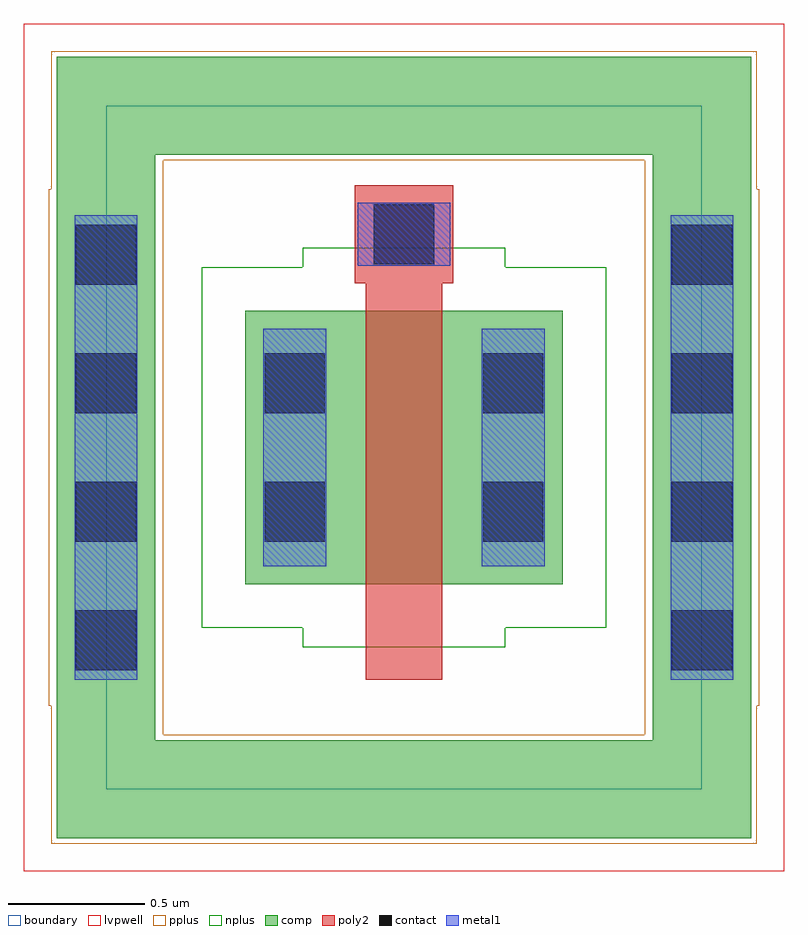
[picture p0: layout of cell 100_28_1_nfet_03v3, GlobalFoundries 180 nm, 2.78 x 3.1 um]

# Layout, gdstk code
import gdstk
lib = gdstk.Library(unit=1e-6, precision=1e-09)
def R(c, l, rs):  # rectangles x0, y0, x1, y1
    for r in rs: c.add(gdstk.rectangle(r[:2], r[2:], *l))
def A(c, l, x, y, w, h, nx, ny, dx, dy):  # array of equal rectangles
    R(c, l, [(x+i*dx, y+j*dy, x+i*dx+w, y+j*dy+h) for i in range(nx) for j in range(ny)])
boundary = (0, 0)
comp = (22, 0)
poly2 = (30, 0)
pplus = (31, 0)
nplus = (32, 0)
contact = (33, 0)
metal1 = (34, 0)
lvpwell = (204, 0)

c_100_28_1_nfet_03v3 = lib.new_cell('100_28_1_nfet_03v3')
R(c_100_28_1_nfet_03v3, boundary, [(-1.09,-1.25,1.09,1.25)])
R(c_100_28_1_nfet_03v3, comp, [(-1.27,-1.43,1.27,-1.07), (-1.27,-1.07,-0.91,1.07), (0.91,-1.07,1.27,1.07), (-0.58,-0.5,0.58,0.5), (-1.27,1.07,1.27,1.43)])
R(c_100_28_1_nfet_03v3, poly2, [(-0.14,-0.85,0.14,0.6), (-0.18,0.6,0.18,0.96)])
R(c_100_28_1_nfet_03v3, pplus, [(-1.29,-1.45,1.29,-1.05), (-1.29,-1.05,-0.88,-0.945), (0.88,-1.05,1.29,-0.945), (-1.3,-0.945,-0.88,0.945), (0.88,-0.945,1.3,0.945), (-1.29,0.945,-0.88,1.05), (0.88,0.945,1.29,1.05), (-1.29,1.05,1.29,1.45)])
R(c_100_28_1_nfet_03v3, nplus, [(-0.37,-0.73,0.37,-0.66), (-0.74,-0.66,0.74,0.66), (-0.37,0.66,0.37,0.73)])
A(c_100_28_1_nfet_03v3, contact, -1.2, -0.815, 0.22, 0.22, 1, 4, 0, 0.47)
A(c_100_28_1_nfet_03v3, contact, 0.98, -0.815, 0.22, 0.22, 1, 4, 0, 0.47)
R(c_100_28_1_nfet_03v3, contact, [(-0.51,-0.345,-0.29,-0.125), (0.29,-0.345,0.51,-0.125), (-0.51,0.125,-0.29,0.345), (0.29,0.125,0.51,0.345), (-0.11,0.67,0.11,0.89)])
R(c_100_28_1_nfet_03v3, metal1, [(-1.205,-0.85,-0.975,0.85), (0.975,-0.85,1.205,0.85), (-0.515,-0.435,-0.285,0.435), (0.285,-0.435,0.515,0.435), (-0.17,0.665,0.17,0.895)])
R(c_100_28_1_nfet_03v3, lvpwell, [(-1.39,-1.55,1.39,1.55)])

lib.write_gds('100_28_1_nfet_03v3.gds')
